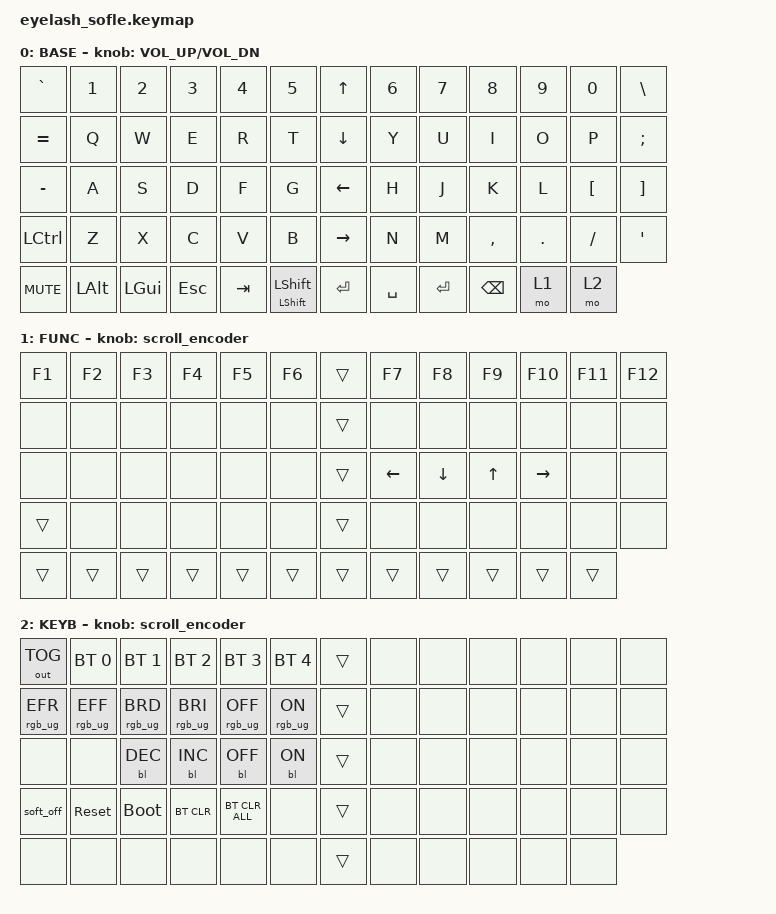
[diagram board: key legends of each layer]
#include <dt-bindings/zmk/mouse.h>
#include <input/processors.dtsi>
#include <behaviors.dtsi>
#include <dt-bindings/zmk/backlight.h>
#include <dt-bindings/zmk/bt.h>
#include <dt-bindings/zmk/keys.h>
#include <dt-bindings/zmk/keys.h>
#include <dt-bindings/zmk/outputs.h>
#include <dt-bindings/zmk/pointing.h>
#include <dt-bindings/zmk/rgb.h>

/*

   &mmv_input_listener {
       input-processors = <&zip_xy_scaler 2 1>;
   };

   &msc_input_listener {
       input-processors = <&zip_xy_scaler 2 1>;
   };

 */

#define ZMK_MOUSE_DEFAULT_MOVE_VAL 1200  // 600
#define ZMK_MOUSE_DEFAULT_SCRL_VAL 20    // 10

/ {
    behaviors {
        mmv {
            acceleration-exponent = <1>;      // 1
            time-to-max-speed-ms = <900>;    // 40
            delay-ms = <0>;                   // 0
        };

        msc {
            acceleration-exponent = <1>;      // 0
            time-to-max-speed-ms = <400>;      // 500
            delay-ms = <0>;                   //   10
        };
    };

    scroll_encoder: scroll_encoder {
        compatible = "zmk,behavior-sensor-rotate";
        #sensor-binding-cells = <0>;
        bindings = <&msc SCRL_DOWN>, <&msc SCRL_UP>;

        tap-ms = <30>;
    };

    toggle_shift: toggle_shift {
        compatible = "zmk,behavior-tap-dance";
        label = "TOGGLE_SHIFT";
        #binding-cells = <0>;
        bindings = <&kp LSHIFT>, <&kt LSHIFT>;
    };

    hold_tap_shift: hold_tap_shift {
        compatible = "zmk,behavior-hold-tap";
        label = "HOLD_TAP_SHIFT";
        bindings = <&kp>, <&sticky_shift>;

        #binding-cells = <2>;
        tapping-term-ms = <200>;
    };

    sticky_shift: sticky_shift {
        compatible = "zmk,behavior-sticky-key";
        label = "STICKY_SHIFT";
        bindings = <&kp>;
        #binding-cells = <1>;
        release-after-ms = <1000>;
        quick-release;
        ignore-modifiers;
    };

    combos { compatible = "zmk,combos"; };

    keymap {
        compatible = "zmk,keymap";

        BASE {
            bindings = <
&kp GRAVE         &kp N1        &kp N2        &kp N3      &kp N4   &kp N5                           &kp UP_ARROW     &kp N6     &kp N7     &kp N8         &kp N9   &kp N0            &kp BACKSLASH
&kp EQUAL         &kp Q         &kp W         &kp E       &kp R    &kp T                            &kp DOWN_ARROW   &kp Y      &kp U      &kp I          &kp O    &kp P             &kp SEMICOLON
&kp MINUS         &kp A         &kp S         &kp D       &kp F    &kp G                            &kp LEFT_ARROW   &kp H      &kp J      &kp K          &kp L    &kp LEFT_BRACKET  &kp RIGHT_BRACKET
&kp LEFT_CONTROL  &kp Z         &kp X         &kp C       &kp V    &kp B                            &kp RIGHT_ARROW  &kp N      &kp M      &kp COMMA      &kp DOT  &kp FSLH          &kp SQT
&kp C_MUTE        &kp LEFT_ALT  &kp LEFT_GUI  &kp ESCAPE  &kp TAB  &hold_tap_shift LSHIFT LSHIFT    &kp ENTER        &kp SPACE  &kp ENTER  &kp BACKSPACE  &mo 1    &mo 2
            >;

            sensor-bindings = <&inc_dec_kp C_VOLUME_UP C_VOL_DN>;
            display-name = "BASE";
        };

        FUNC {
            bindings = <
&kp F1  &kp F2  &kp F3  &kp F4  &kp F5  &kp F6    &trans  &kp F7    &kp F8    &kp F9  &kp F10    &kp F11  &kp F12
&none   &none   &none   &none   &none   &none     &trans  &none     &none     &none   &none      &none    &none
&none   &none   &none   &none   &none   &none     &trans  &kp LEFT  &kp DOWN  &kp UP  &kp RIGHT  &none    &none
&trans  &none   &none   &none   &none   &none     &trans  &none     &none     &none   &none      &none    &none
&trans  &trans  &trans  &trans  &trans  &trans    &trans  &trans    &trans    &trans  &trans     &trans
            >;

            display-name = "FUNC";
            sensor-bindings = <&scroll_encoder>;
        };

        KEYB {
            bindings = <
&out OUT_TOG     &bt BT_SEL 0     &bt BT_SEL 1     &bt BT_SEL 2     &bt BT_SEL 3     &bt BT_SEL 4      &trans  &none  &none  &none  &none  &none  &none
&rgb_ug RGB_EFR  &rgb_ug RGB_EFF  &rgb_ug RGB_BRD  &rgb_ug RGB_BRI  &rgb_ug RGB_OFF  &rgb_ug RGB_ON    &trans  &none  &none  &none  &none  &none  &none
&none            &none            &bl BL_DEC       &bl BL_INC       &bl BL_OFF       &bl BL_ON         &trans  &none  &none  &none  &none  &none  &none
&soft_off        &sys_reset       &bootloader      &bt BT_CLR       &bt BT_CLR_ALL   &none             &trans  &none  &none  &none  &none  &none  &none
&none            &none            &none            &none            &none            &none             &trans  &none  &none  &none  &none  &none
            >;

            sensor-bindings = <&scroll_encoder>;
        };
    };
};
